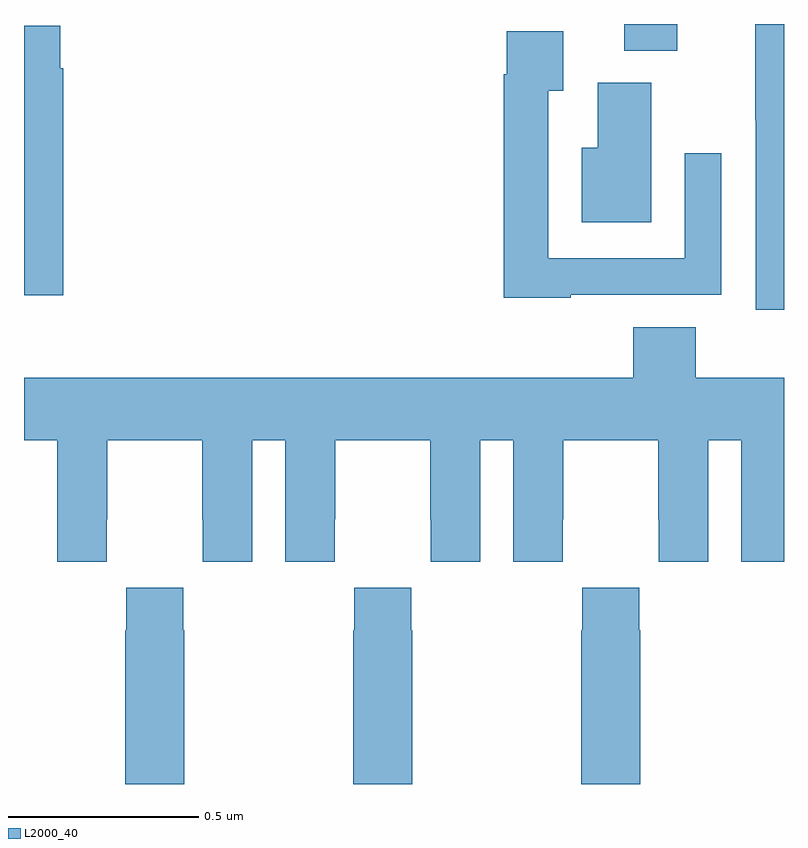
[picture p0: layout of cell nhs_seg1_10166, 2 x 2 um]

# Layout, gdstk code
import gdstk
lib = gdstk.Library(unit=1e-6, precision=1e-09)
def R(c, l, rs):  # rectangles x0, y0, x1, y1
    for r in rs: c.add(gdstk.rectangle(r[:2], r[2:], *l))
def P(c, l, *ps):  # polygons
    for p in ps: c.add(gdstk.Polygon(p, *l))
L2000_40 = (2000, 40)

nhs_seg1_10166 = lib.new_cell('nhs_seg1_10166')
R(nhs_seg1_10166, L2000_40, [(239.579,514.129,239.719,514.199)])
P(nhs_seg1_10166, L2000_40, [(240,514.199),(239.924,514.199),(239.924,513.946),(239.925,513.946),(239.925,513.447),(240,513.447)],
  [(238.103,514.082),(238.096,514.082),(238.096,514.195),(238,514.195),(238,513.485),(238.103,513.485)],
  [(239.439,513.486),(239.835,513.486),(239.835,513.859),(239.739,513.859),(239.739,513.582),(239.379,513.582),(239.379,514.024),(239.419,514.024),(239.419,514.18),(239.271,514.18),(239.271,514.067),(239.263,514.067),(239.263,513.479),(239.439,513.479)],
  [(239.65,514.044),(239.51,514.044),(239.51,513.874),(239.468,513.874),(239.468,513.677),(239.65,513.677)],
  [(238.218,512.896),(238.219,512.896),(238.219,513.104),(238.469,513.104),(238.469,512.896),(238.47,512.896),(238.47,512.784),(238.6,512.784),(238.6,513.104),(238.688,513.104),(238.688,512.784),(238.818,512.784),(238.818,512.896),(238.819,512.896),(238.819,513.104),(239.069,513.104),(239.069,512.896),(239.07,512.896),(239.07,512.784),(239.2,512.784),(239.2,513.104),(239.288,513.104),(239.288,512.784),(239.418,512.784),(239.418,512.896),(239.419,512.896),(239.419,513.104),(239.669,513.104),(239.669,512.896),(239.67,512.896),(239.67,512.784),(239.8,512.784),(239.8,513.104),(239.888,513.104),(239.888,512.784),(240,512.784),(240,513.268),(239.768,513.268),(239.768,513.401),(239.603,513.401),(239.603,513.268),(238,513.268),(238,513.104),(238.088,513.104),(238.088,512.784),(238.218,512.784)],
  [(239.622,512.603),(239.619,512.603),(239.619,512.716),(239.469,512.716),(239.469,512.603),(239.467,512.603),(239.467,512.199),(239.622,512.199)],
  [(239.022,512.603),(239.019,512.603),(239.019,512.716),(238.869,512.716),(238.869,512.603),(238.867,512.603),(238.867,512.199),(239.022,512.199)],
  [(238.422,512.603),(238.419,512.603),(238.419,512.716),(238.269,512.716),(238.269,512.603),(238.267,512.603),(238.267,512.199),(238.422,512.199)])

lib.write_gds('nhs_seg1_10166.gds')
